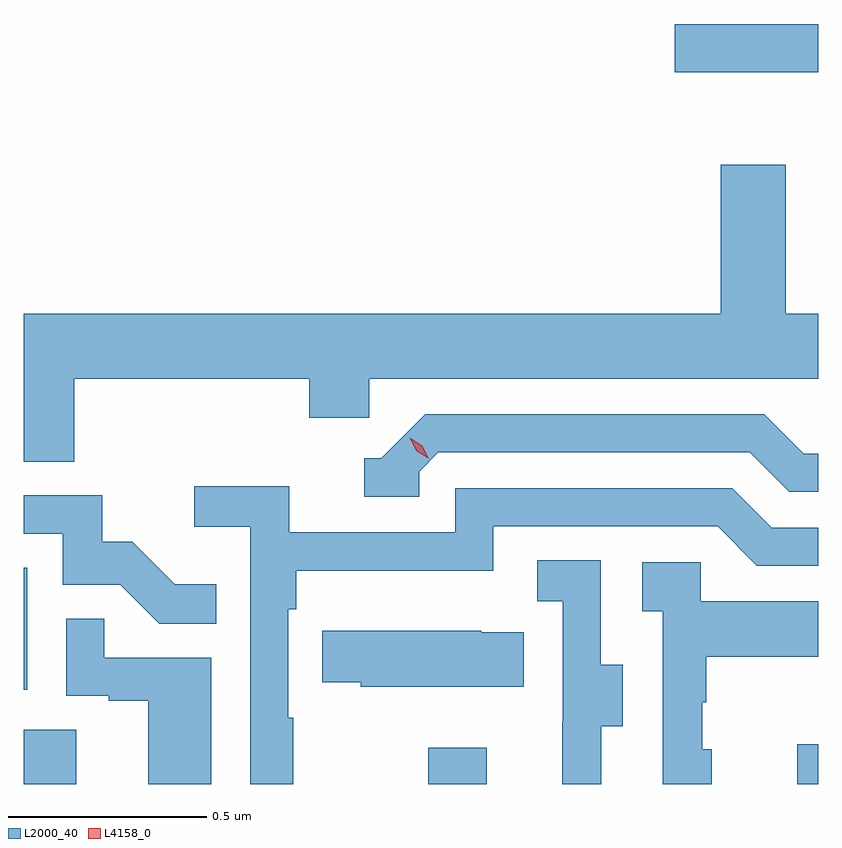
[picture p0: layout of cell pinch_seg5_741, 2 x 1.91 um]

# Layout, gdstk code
import gdstk
lib = gdstk.Library(unit=1e-6, precision=1e-09)
def R(c, l, rs):  # rectangles x0, y0, x1, y1
    for r in rs: c.add(gdstk.rectangle(r[:2], r[2:], *l))
def P(c, l, *ps):  # polygons
    for p in ps: c.add(gdstk.Polygon(p, *l))
L2000_40 = (2000, 40)
L4158_0 = (4158, 0)

pinch_seg5_741 = lib.new_cell('pinch_seg5_741')
R(pinch_seg5_741, L2000_40, [(858.558,905.025,858.691,905.162), (859.576,905.025,859.723,905.116), (860.504,905.025,860.558,905.125), (858.558,905.262,858.568,905.569), (860.196,906.815,860.558,906.937)])
P(pinch_seg5_741, L2000_40, [(858.686,906.044),(859.277,906.044),(859.277,905.946),(859.428,905.946),(859.428,906.044),(860.558,906.044),(860.558,906.208),(860.476,906.208),(860.476,906.583),(860.312,906.583),(860.312,906.208),(858.558,906.208),(858.558,905.836),(858.686,905.836)],
  [(859.554,905.811),(859.602,905.859),(860.385,905.859),(860.484,905.76),(860.558,905.76),(860.558,905.856),(860.521,905.856),(860.422,905.955),(859.569,905.955),(859.458,905.844),(859.415,905.844),(859.415,905.748),(859.554,905.748)],
  [(859.237,905.192),(859.224,905.192),(859.224,905.465),(859.244,905.465),(859.244,905.561),(859.74,905.561),(859.74,905.673),(860.304,905.673),(860.403,905.574),(860.558,905.574),(860.558,905.67),(860.44,905.67),(860.341,905.769),(859.644,905.769),(859.644,905.658),(859.226,905.658),(859.226,905.774),(858.987,905.774),(858.987,905.672),(859.128,905.672),(859.128,905.025),(859.237,905.025)],
  [(859.043,905.527),(858.939,905.527),(858.832,905.634),(858.756,905.634),(858.756,905.751),(858.558,905.751),(858.558,905.655),(858.657,905.655),(858.657,905.526),(858.801,905.526),(858.899,905.428),(859.043,905.428)],
  [(860.011,905.17),(860.065,905.17),(860.065,905.325),(860.01,905.325),(860.01,905.588),(859.851,905.588),(859.851,905.485),(859.914,905.485),(859.914,905.181),(859.913,905.181),(859.913,905.025),(860.011,905.025)],
  [(860.29,905.112),(860.265,905.112),(860.265,905.231),(860.275,905.231),(860.275,905.345),(860.558,905.345),(860.558,905.485),(860.262,905.485),(860.262,905.583),(860.115,905.583),(860.115,905.459),(860.166,905.459),(860.166,905.025),(860.29,905.025)],
  [(859.03,905.343),(858.761,905.343),(858.761,905.441),(858.666,905.441),(858.666,905.247),(858.773,905.247),(858.773,905.235),(858.872,905.235),(858.872,905.025),(859.03,905.025)],
  [(859.817,905.407),(859.709,905.407),(859.709,905.41),(859.309,905.41),(859.309,905.281),(859.407,905.281),(859.407,905.27),(859.817,905.27)])
P(pinch_seg5_741, L4158_0, [(859.576,905.844),(859.546,905.863),(859.53,905.896),(859.53,905.896),(859.53,905.896),(859.561,905.876),(859.576,905.844),(859.576,905.844)])

lib.write_gds('pinch_seg5_741.gds')
